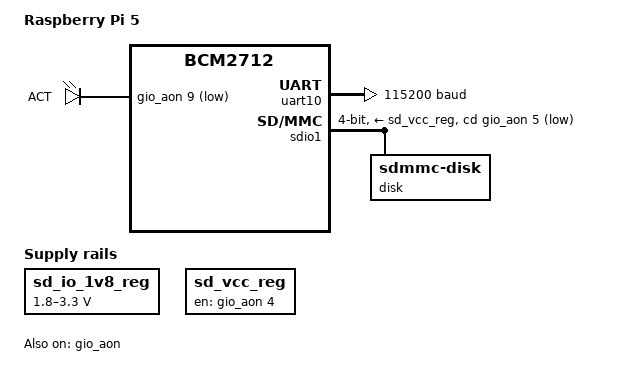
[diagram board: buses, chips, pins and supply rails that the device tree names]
/*
 * Copyright 2024 Junho Lee <junho@tsnlab.com>
 * Copyright (c) 2024 EPAM Systems
 *
 * SPDX-License-Identifier: Apache-2.0
 */

/dts-v1/;

#include <broadcom/bcm2712.dtsi>
#include <zephyr/dt-bindings/gpio/gpio.h>

/ {
	compatible = "raspberrypi,5-model-b", "brcm,bcm2712";
	model = "Raspberry Pi 5";
	#address-cells = <2>;
	#size-cells = <1>;

	aliases {
		led0 = &led_act;
		sdhc0 = &sdio1;
	};

	chosen {
		zephyr,sram = &sram0;
		zephyr,console = &uart10;
		zephyr,shell-uart = &uart10;
		zephyr,pcie-controller = &pcie1;
		zephyr,entropy = &rng;
	};

	leds {
		compatible = "gpio-leds";

		led_act: led-act {
			gpios = <&gio_aon 9 GPIO_ACTIVE_LOW>;
			label = "ACT";
		};
	};

	sd_io_1v8_reg: sd_io_1v8_reg {
		compatible = "regulator-gpio";
		regulator-name = "vdd-sd-io";
		regulator-min-microvolt = <1800000>;
		regulator-max-microvolt = <3300000>;
		regulator-boot-on;
		regulator-always-on;
		gpios = <&gio_aon 3 GPIO_ACTIVE_HIGH>;
		states = <1800000 0x1
			  3300000 0x0>;
		status = "okay";
	};

	sd_vcc_reg: sd_vcc_reg {
		compatible = "regulator-fixed";
		regulator-name = "vcc-sd";
		regulator-boot-on;
		enable-gpios = <&gio_aon 4 GPIO_ACTIVE_HIGH>;
		status = "okay";
	};
};

/* samples required more memory and RPI5 has it, set it to 4M */
&sram0 {
	reg = <0x0 0x200000 0x400000>;
};

&gio_aon {
	status = "okay";
};

&uart10 {
	status = "okay";
	current-speed = <115200>;
};

&gpio0_0 {
	status = "okay";
};

/* SDIO1 is used to drive removable the SD card */
&sdio1 {
	vqmmc-supply = <&sd_io_1v8_reg>;
	vmmc-supply = <&sd_vcc_reg>;
	bus-width = <4>;
	cd-gpios = <&gio_aon 5 GPIO_ACTIVE_LOW>;
	/* request freq from hw */
	max-bus-freq = <0>;
	status = "okay";

	disk {
		compatible = "zephyr,sdmmc-disk";
		status = "okay";
	};
};
